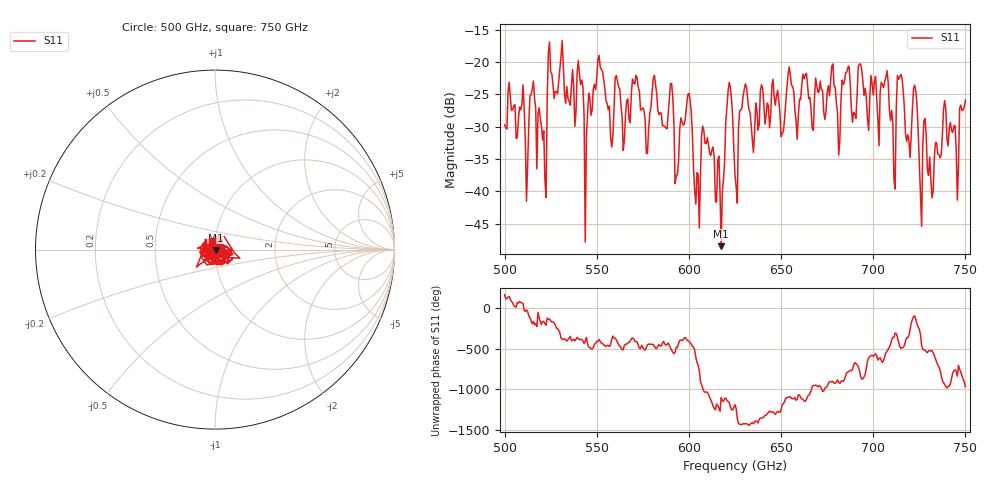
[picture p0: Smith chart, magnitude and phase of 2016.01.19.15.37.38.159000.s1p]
!Created with skrf (http://scikit-rf.org).
# GHz S RI R 50.0
!freq ReS11 ImS11
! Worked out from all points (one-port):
!   401 points, 500 GHz to 750 GHz, reference 50 ohm
!   lowest |S11| = -48.5 dB at 617.5 GHz (marker M1), VSWR 1.01, Z = 50.3 - j0.155 ohm
!   |S11| at or under -10 dB: start of sweep to end of sweep
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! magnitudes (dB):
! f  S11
! 500 GHz  -29.7
! 511.9 GHz  -41.5
! 515 GHz  -24.2
! 521.2 GHz  -30.6
! 524.4 GHz  -16.9
! 531.2 GHz  -16.7
! 544.4 GHz  -31.5
! 551.2 GHz  -19.0
! 562.5 GHz  -24.2
! 590 GHz  -23.4
! 593.8 GHz  -37.4
! 600 GHz  -24.9
! 604.4 GHz  -37.1
! 608.1 GHz  -30.7
! 617.5 GHz  -48.5
! 621.9 GHz  -23.1
! 625 GHz  -37.5
! 630.6 GHz  -23.4
! 656.2 GHz  -23.8
! 687.5 GHz  -23.3
! 706.9 GHz  -22.4
! 710.6 GHz  -29.5
! 714.4 GHz  -22.4
! 718.8 GHz  -31.3
! 722.5 GHz  -23.6
! 725.6 GHz  -40.2
! 731.2 GHz  -38.1
! 750 GHz  -25.9
